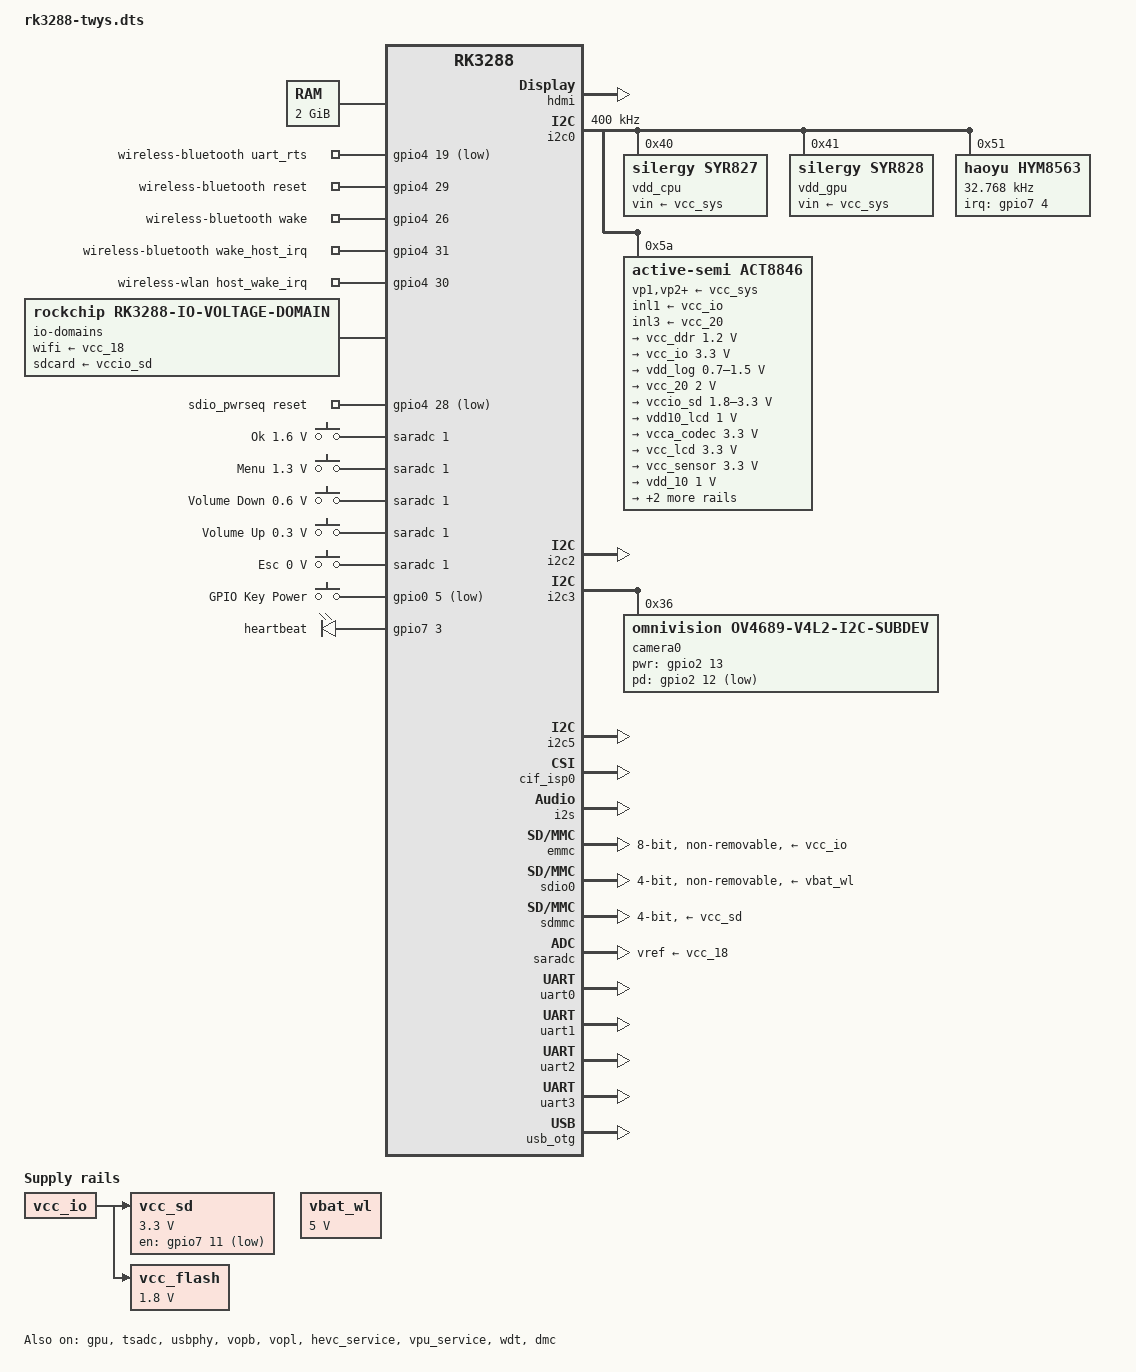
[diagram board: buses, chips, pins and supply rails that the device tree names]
/*
 * This file is dual-licensed: you can use it either under the terms
 * of the GPL or the X11 license, at your option. Note that this dual
 * licensing only applies to this file, and not this project as a
 * whole.
 *
 *  a) This file is free software; you can redistribute it and/or
 *     modify it under the terms of the GNU General Public License as
 *     published by the Free Software Foundation; either version 2 of the
 *     License, or (at your option) any later version.
 *
 *     This file is distributed in the hope that it will be useful,
 *     but WITHOUT ANY WARRANTY; without even the implied warranty of
 *     MERCHANTABILITY or FITNESS FOR A PARTICULAR PURPOSE.  See the
 *     GNU General Public License for more details.
 *
 * Or, alternatively,
 *
 *  b) Permission is hereby granted, free of charge, to any person
 *     obtaining a copy of this software and associated documentation
 *     files (the "Software"), to deal in the Software without
 *     restriction, including without limitation the rights to use,
 *     copy, modify, merge, publish, distribute, sublicense, and/or
 *     sell copies of the Software, and to permit persons to whom the
 *     Software is furnished to do so, subject to the following
 *     conditions:
 *
 *     The above copyright notice and this permission notice shall be
 *     included in all copies or substantial portions of the Software.
 *
 *     THE SOFTWARE IS PROVIDED "AS IS", WITHOUT WARRANTY OF ANY KIND,
 *     EXPRESS OR IMPLIED, INCLUDING BUT NOT LIMITED TO THE WARRANTIES
 *     OF MERCHANTABILITY, FITNESS FOR A PARTICULAR PURPOSE AND
 *     NONINFRINGEMENT. IN NO EVENT SHALL THE AUTHORS OR COPYRIGHT
 *     HOLDERS BE LIABLE FOR ANY CLAIM, DAMAGES OR OTHER LIABILITY,
 *     WHETHER IN AN ACTION OF CONTRACT, TORT OR OTHERWISE, ARISING
 *     FROM, OUT OF OR IN CONNECTION WITH THE SOFTWARE OR THE USE OR
 *     OTHER DEALINGS IN THE SOFTWARE.
 */

/dts-v1/;

#include <dt-bindings/input/input.h>

#include "rk3288.dtsi"

/ {
	compatible = "rockchip,rk3288-twys", "rockchip,rk3288";


	ion {
		compatible = "rockchip,ion";
		#address-cells = <1>;
		#size-cells = <0>;

		cma-heap {
			reg = <0x78000000 0x08000000>;
		};

		system-heap {
		};
	};


	memory {
		device_type = "memory";
		reg = <0x0 0x80000000>;
	};

	wireless-bluetooth {
		compatible = "bluetooth-platdata";
		uart_rts_gpios = <&gpio4 19 GPIO_ACTIVE_LOW>;
		pinctrl-names = "default","rts_gpio";
		pinctrl-0 = <&uart0_rts>;
		pinctrl-1 = <&uart0_gpios>;
		BT,reset_gpio    = <&gpio4 29 GPIO_ACTIVE_HIGH>;
		BT,wake_gpio     = <&gpio4 26 GPIO_ACTIVE_HIGH>;
		BT,wake_host_irq = <&gpio4 31 GPIO_ACTIVE_HIGH>;
		status = "okay";
	};

	wireless-wlan {
		compatible = "wlan-platdata";
		rockchip,grf = <&grf>;
		wifi_chip_type = "ap6335";
		sdio_vref = <1800>;
		WIFI,host_wake_irq = <&gpio4 30 GPIO_ACTIVE_HIGH>;
		status = "okay";
	};

	/* Benn: Confirmed me!! */
	io-domains {
		compatible = "rockchip,rk3288-io-voltage-domain";
		rockchip,grf = <&grf>;
		wifi-supply = <&vcc_18>;
		sdcard-supply = <&vccio_sd>;
	};

	sdio_pwrseq: sdio-pwrseq {
		compatible = "mmc-pwrseq-simple";
		clocks = <&hym8563>;
		clock-names = "ext_clock";
		pinctrl-names = "default";
		pinctrl-0 = <&wifi_enable_h>;

		/*
		 * On the module itself this is one of these (depending
		 * on the actual card populated):
		 * - SDIO_RESET_L_WL_REG_ON
		 * - PDN (power down when low)
		 */
		reset-gpios = <&gpio4 28 GPIO_ACTIVE_LOW>;
	};

	/*
	 * GPIO KEY: On/Off Power Key
	 * ADC Key: Capture(0)/UP(0.297)/DOWN(0.604)/MENU(1.308)/OK(1.628)
	 */
	adc-keys {
		compatible = "adc-keys";
		io-channels = <&saradc 1>;
		io-channel-names = "buttons";
		poll-interval = <100>;
		keyup-threshold-microvolt = <1800000>;

		ok  {
			label = "Ok";
			linux,code = <KEY_OK>;
			press-threshold-microvolt = <1600000>;
		};

		menu {
			label = "Menu";
			linux,code = <KEY_MENU>;
			press-threshold-microvolt = <1300000>;
		};

		button-down {
			label = "Volume Down";
			linux,code = <KEY_VOLUMEDOWN>;
			press-threshold-microvolt = <600000>;
		};

		button-up {
			label = "Volume Up";
			linux,code = <KEY_VOLUMEUP>;
			press-threshold-microvolt = <300000>;
		};

		esc {
			label = "Esc";
			linux,code = <KEY_ESC>;
			press-threshold-microvolt = <0>;
		};
	};

	gpio-keys {
		compatible = "gpio-keys";
		#address-cells = <1>;
		#size-cells = <0>;
		autorepeat;

		pinctrl-names = "default";
		pinctrl-0 = <&pwrbtn>;

		button@0 {
			gpios = <&gpio0 5 GPIO_ACTIVE_LOW>;
			linux,code = <116>;
			label = "GPIO Key Power";
			linux,input-type = <1>;
			gpio-key,wakeup = <1>;
			debounce-interval = <100>;
		};
	};

	gpio-leds {
		compatible = "gpio-leds";

		heartbeat {
			label = "heartbeat";
			linux,default-trigger = "heartbeat";
			default-state = "on";
			gpios = <&gpio7 3 GPIO_ACTIVE_HIGH>;
		};
	};

	sound {
		compatible = "simple-audio-card";
		simple-audio-card,format = "i2s";
		simple-audio-card,name = "rockchip,twys-codec";
		simple-audio-card,mclk-fs = <512>;

		simple-audio-card,dai-link@0 {
			format = "i2s";
			cpu {
				sound-dai = <&i2s>;
			};
			codec {
				sound-dai = <&hdmi>;
			};

		};

		simple-audio-card,dai-link@1 {
			format = "i2s";
			cpu {
				sound-dai = <&i2s>;
			};
		};
	};

	vbat_wl: vcc_sys: vsys-regulator {
		compatible = "regulator-fixed";
		regulator-name = "vcc_sys";
		regulator-min-microvolt = <5000000>;
		regulator-max-microvolt = <5000000>;
		regulator-always-on;
		regulator-boot-on;
	};

	vcc_sd: sdmmc-regulator {
		compatible = "regulator-fixed";
		gpio = <&gpio7 11 GPIO_ACTIVE_LOW>;
		pinctrl-names = "default";
		pinctrl-0 = <&sdmmc_pwr>;
		regulator-name = "vcc_sd";
		regulator-min-microvolt = <3300000>;
		regulator-max-microvolt = <3300000>;
		startup-delay-us = <100000>;
		vin-supply = <&vcc_io>;
	};

	vcc_flash: flash-regulator {
		compatible = "regulator-fixed";
		regulator-name = "vcc_flash";
		regulator-min-microvolt = <1800000>;
		regulator-max-microvolt = <1800000>;
		vin-supply = <&vcc_io>;
		flash0-supply = <&vcc_flash>;
		sdcard-supply = <&vccio_sd>;
		wifi-supply = <&vccio_wl>;
	};

};

&cpu0 {
	cpu0-supply = <&vdd_cpu>;
};

&gpu {
	mali-supply = <&vdd_gpu>;
	status = "okay";
};

&hdmi {
	#address-cells = <1>;
	#size-cells = <0>;
	#sound-dai-cells = <0>;
	pinctrl-names = "default";
	pinctrl-0 = <&hdmi_ddc>;
	status = "okay";
	/* Don't use vopl for HDMI */
	ports {
		hdmi_in: port {
			/delete-node/ endpoint@1;
		};
	};
};

&i2c0 {
	status = "okay";
	clock-frequency = <400000>;

	vdd_cpu: syr827@40 {
		compatible = "silergy,syr827";
		fcs,suspend-voltage-selector = <1>;
		reg = <0x40>;
		regulator-name = "vdd_cpu";
		regulator-min-microvolt = <850000>;
		regulator-max-microvolt = <1350000>;
		regulator-always-on;
		regulator-boot-on;
		regulator-enable-ramp-delay = <300>;
		regulator-ramp-delay = <8000>;
		vin-supply = <&vcc_sys>;
	};

	vdd_gpu: syr828@41 {
		compatible = "silergy,syr828";
		fcs,suspend-voltage-selector = <1>;
		reg = <0x41>;
		regulator-name = "vdd_gpu";
		regulator-min-microvolt = <850000>;
		regulator-max-microvolt = <1350000>;
		regulator-always-on;
		regulator-ramp-delay = <6000>;
		vin-supply = <&vcc_sys>;
	};

	hym8563: hym8563@51 {
		compatible = "haoyu,hym8563";
		reg = <0x51>;
		#clock-cells = <0>;
		clock-frequency = <32768>;
		clock-output-names = "xin32k";
		interrupt-parent = <&gpio7>;
		interrupts = <4 IRQ_TYPE_EDGE_FALLING>;
		pinctrl-names = "default";
		pinctrl-0 = <&rtc_int>;
	};


/*
 *
 * Devices connected to i2c0
 * ---------------------------
 *   SYR827 -> CPU
 *   SYR828 -> GPU
 *   HYM8563 -> RTC
 *   ACT8836 -> PMU
 */

	act8846: act8846@5a {
		compatible = "active-semi,act8846";
		reg = <0x5a>;
		status = "okay";
		system-power-controller;

		vp1-supply = <&vcc_sys>;
		vp2-supply = <&vcc_sys>;
		vp3-supply = <&vcc_sys>;
		vp4-supply = <&vcc_sys>;
		inl1-supply = <&vcc_io>;
		inl2-supply = <&vcc_sys>;
		inl3-supply = <&vcc_20>;

		regulators {
			vcc_ddr: REG1 {
				regulator-name = "VCC_DDR";
				regulator-min-microvolt = <1200000>;
				regulator-max-microvolt = <1200000>;
				regulator-always-on;
			};

			vcc_io: REG2 {
				regulator-name = "VCC_IO";
				regulator-min-microvolt = <3300000>;
				regulator-max-microvolt = <3300000>;
				regulator-always-on;
			};

			vdd_log: REG3 {
				regulator-name = "VDD_LOG";
				regulator-min-microvolt = <700000>;
				regulator-max-microvolt = <1500000>;
				regulator-always-on;
			};

			vcc_20: REG4 {
				regulator-name = "VCC_20";
				regulator-min-microvolt = <2000000>;
				regulator-max-microvolt = <2000000>;
				regulator-always-on;
			};

			vccio_sd: REG5 {
				regulator-name = "VCCIO_SD";
				regulator-min-microvolt = <1800000>;
				regulator-max-microvolt = <3300000>;
				regulator-always-on;
			};

			vdd10_lcd: REG6 {
				regulator-name = "VDD10_LCD";
				regulator-min-microvolt = <1000000>;
				regulator-max-microvolt = <1000000>;
				regulator-always-on;
			};

			vcca_codec: REG7 {
				regulator-name = "VCCA_CODEC";
				regulator-min-microvolt = <3300000>;
				regulator-max-microvolt = <3300000>;
				regulator-always-on;
			};

			vcc_lcd: REG8 {
				regulator-name = "VCC_LCD";
				regulator-min-microvolt = <3300000>;
				regulator-max-microvolt = <3300000>;
				regulator-always-on;
			};

			vcc_sensor: REG9 {
				regulator-name = "vcc_sensor";
				regulator-min-microvolt = <3300000>;
				regulator-max-microvolt = <3300000>;
			};

			vdd_10: REG10 {
				regulator-name = "VDD_10";
				regulator-min-microvolt = <1000000>;
				regulator-max-microvolt = <1000000>;
				regulator-always-on;
			};

			vccio_wl: vcc_18: REG11 {
				regulator-name = "VCC_18";
				regulator-min-microvolt = <1800000>;
				regulator-max-microvolt = <1800000>;
				regulator-always-on;
			};

			vcc18_lcd: REG12 {
				regulator-name = "VCC18_LCD";
				regulator-min-microvolt = <1800000>;
				regulator-max-microvolt = <1800000>;
				regulator-always-on;
			};
		};
	};

};


/*
 * i2c2: audio codec
 * i2c3: mipi camera(ov4689)
 *
 */
&i2c2 {
	status = "okay";
};


&i2c3 {
	status = "okay";

        camera0:camera-module@0 {
                status = "okay";

                compatible = "omnivision,ov4689-v4l2-i2c-subdev";
                /* SID=low */
                reg = < 0x36 >;
                device_type = "v4l2-i2c-subdev";


		clocks = <&cru SCLK_CIFOUT>;
		clock-names = "clk_cif_out";
		
		/*vcc_sensor-supply = <&vcc_sensor>;*/

		rockchip,camera-module-regulator-names ="vcc_sensor";
		rockchip,camera-module-regulator-voltages = <3300000>;

                pinctrl-names = "rockchip,camera_default", "rockchip,camera_sleep";
                pinctrl-0 = <&cam0_default_pins>;
                pinctrl-1 = <&cam0_sleep_pins>;

                /*
                 *  CIFCK0 -> EXTCLK    -> GPIO2_B3 (11)
                 *  CAMPD  -> PWDN      -> GPIO2_B4 (12)
                 *  CAMSD  -> XSHUTDOWN -> GPIO2_B5 (13)
                 */

                rockchip,pwr-gpio = <&gpio2 13 GPIO_ACTIVE_HIGH>;
		rockchip,pd-gpio = <&gpio2 12 GPIO_ACTIVE_LOW>;

                rockchip,camera-module-mclk-name = "clk_cif_out";
                rockchip,camera-module-dovdd = "1.8v";
                rockchip,camera-module-facing = "back";
                rockchip,camera-module-name = "cmk-cb0695-fv1";
                rockchip,camera-module-len-name = "lg9569a2";
                rockchip,camera-module-fov-h = "66.0";
                rockchip,camera-module-fov-v = "50.1";
                rockchip,camera-module-orientation = <0>;
                rockchip,camera-module-iq-flip = <0>;
                rockchip,camera-module-iq-mirror = <0>;
                rockchip,camera-module-flip = <0>;
                rockchip,camera-module-mirror = <0>;

                /* resolution.w, resolution.h, defrect.left, defrect.top, defrect.w, defrect.h */
                rockchip,camera-module-defrect0 = <3264 2448 0 0 3264 2448>;
                rockchip,camera-module-flash-support = <0>;

		/*
		 * dphy0 -> tx
		 * dphy1 -> tx/rx (we use dphy-1)
		 * dphy2 -> rx
		 */
                rockchip,camera-module-mipi-dphy-index = <1>;
        };
};

&i2c5 {
	status = "okay";
};

&cif_isp0 {
          rockchip,camera-modules-attached = <&camera0>;
          status = "okay";
};

&i2s {
	#sound-dai-cells = <0>;
	status = "okay";
};

&emmc {
	bus-width = <8>;
	cap-mmc-highspeed;
	disable-wp;
	non-removable;
	num-slots = <1>;
	pinctrl-names = "default";
	pinctrl-0 = <&emmc_clk>, <&emmc_cmd>, <&emmc_pwr>, <&emmc_bus8>;
	vmmc-supply = <&vcc_io>; /* ACT8846: 3.3v */
	vqmmc-supply = <&vcc_flash>; /* Fixed: 1.8v */
	status = "okay";
};


&sdio0 {
	clock-frequency = <50000000>;
	clock-freq-min-max = <200000 50000000>;

	bus-width = <4>;
	cap-sd-highspeed;
	cap-sdio-irq;
	disable-wp;
	keep-power-in-suspend;
	mmc-pwrseq = <&sdio_pwrseq>;
	non-removable;
	num-slots = <1>;
	pinctrl-names = "default";
	pinctrl-0 = <&sdio0_bus4 &sdio0_cmd &sdio0_clk &sdio0_int>;
	sd-uhs-sdr104;
	supports-sdio;
	vmmc-supply = <&vbat_wl>;
	vqmmc-supply = <&vccio_wl>;
	status = "okay";
};

&sdmmc {
	bus-width = <4>;
	cap-mmc-highspeed;
	cap-sd-highspeed;
	card-detect-delay = <200>;
	disable-wp;
	num-slots = <1>;
	pinctrl-names = "default";
	pinctrl-0 = <&sdmmc_clk>, <&sdmmc_cmd>, <&sdmmc_cd>, <&sdmmc_bus4>;
	supports-sd;
	vmmc-supply = <&vcc_sd>;
	vqmmc-supply = <&vccio_sd>;
	status = "okay";
};


&sdmmc {
	bus-width = <4>;
	cap-mmc-highspeed;
	cap-sd-highspeed;
	sd-uhs-sdr12;
	sd-uhs-sdr25;
	sd-uhs-sdr50;
	sd-uhs-sdr104;
	card-detect-delay = <200>;
	disable-wp;			/* wp not hooked up */
	num-slots = <1>;
	pinctrl-names = "default";
	pinctrl-0 = <&sdmmc_clk &sdmmc_cmd &sdmmc_cd &sdmmc_bus4>;
	status = "okay";
	supports-sd;
	vmmc-supply = <&vcc_sd>;
	vqmmc-supply = <&vccio_sd>;
};

&saradc {
        vref-supply = <&vcc_18>;
	status = "okay";
};

/*
 * TSADC (Temperature Sensor ADC)
 *
 */
&tsadc {
	rockchip,hw-tshut-mode = <1>; /* tshut mode 0:CRU 1:GPIO */
	rockchip,hw-tshut-polarity = <1>; /* tshut polarity 0:LOW 1:HIGH */
	status = "okay";
};

/* BT */
&uart0 {
	pinctrl-names = "default";
	pinctrl-0 = <&uart0_xfer>, <&uart0_cts>;
	status = "okay";
};

/* GPS */
&uart1 {
	status = "okay";
};

/* Debug Port */
&uart2 {
	status = "okay";
};

/* USB Port  */
&uart3 {
	status = "okay";
};

/* Not used */
&uart4 {
	status = "disabled";
};

&usbphy {
	status = "okay";
};

&usb_otg {
	status= "okay";
};

&vopb {
	status = "okay";
};

&vopb_mmu {
	status = "okay";
};

&vopl {
	status = "okay";
	/* Don't use vopl for HDMI */
	vopl_out: port {
		/delete-node/ endpoint@0;
	};
};

&vopl_mmu {
	status = "okay";
};

&hevc_service {
	status = "okay";
};

&vpu_service {
	status = "okay";
};

&wdt {
	status = "okay";
};

&pinctrl {
	pcfg_pull_none_drv_8ma: pcfg-pull-none-drv-8ma {
		drive-strength = <8>;
	};

	pcfg_pull_up_drv_8ma: pcfg-pull-up-drv-8ma {
		bias-pull-up;
		drive-strength = <8>;
	};

	buttons {
		pwrbtn: pwrbtn {
			rockchip,pins = <0 5 RK_FUNC_GPIO &pcfg_pull_up>;
		};
	};

	pmic {
		pmic_int: pmic-int {
			rockchip,pins = <RK_GPIO0 4 RK_FUNC_GPIO &pcfg_pull_up>;
		};

		dvs_1: dvs-1 {
			rockchip,pins = <RK_GPIO0 11 RK_FUNC_GPIO &pcfg_pull_down>;
		};

		dvs_2: dvs-2 {
			rockchip,pins = <RK_GPIO0 12 RK_FUNC_GPIO &pcfg_pull_down>;
		};
	};

	sdio-pwrseq {
		wifi_enable_h: wifi-enable-h {
			rockchip,pins = <4 28 RK_FUNC_GPIO &pcfg_pull_none>;
		};
	};

	hym8563 {
		rtc_int: rtc-int {
			rockchip,pins = <0 4 RK_FUNC_GPIO &pcfg_pull_up>;
		};
	};

	sdmmc {
		/*
		 * Default drive strength isn't enough to achieve even
		 * high-speed mode on EVB board so bump up to 8ma.
		 */
		sdmmc_bus4: sdmmc-bus4 {
			rockchip,pins = <6 16 RK_FUNC_1 &pcfg_pull_up_drv_8ma>,
					<6 17 RK_FUNC_1 &pcfg_pull_up_drv_8ma>,
					<6 18 RK_FUNC_1 &pcfg_pull_up_drv_8ma>,
					<6 19 RK_FUNC_1 &pcfg_pull_up_drv_8ma>;
		};

		sdmmc_clk: sdmmc-clk {
			rockchip,pins = <6 20 RK_FUNC_1 &pcfg_pull_none_drv_8ma>;
		};

		sdmmc_cmd: sdmmc-cmd {
			rockchip,pins = <6 21 RK_FUNC_1 &pcfg_pull_up_drv_8ma>;
		};

		sdmmc_pwr: sdmmc-pwr {
			rockchip,pins = <7 11 RK_FUNC_GPIO &pcfg_pull_none>;
		};
	};

	wireless-bluetooth {
		uart0_gpios: uart0-gpios {
			rockchip,pins = <4 19 RK_FUNC_GPIO &pcfg_pull_none>;
		};
	};

	/* TWYS: Hardware option. Disabled currently, just skip it */
	wifi {
		wifi_pwr: wifi-pwr {
			rockchip,pins = <7 9 RK_FUNC_GPIO &pcfg_pull_none>;
		};
	};

	/*
	 * ref to drivers/media/i2c/soc_camera/rockchip/rk_camera_module.c
	 * PLTFRM_CAMERA_MODULE_PIN_PD     Y
	 * PLTFRM_CAMERA_MODULE_PIN_PWR    Y
	 * PLTFRM_CAMERA_MODULE_PIN_FLASH  N
	 * PLTFRM_CAMERA_MODULE_PIN_TORCH  N
	 * PLTFRM_CAMERA_MODULE_PIN_RESET  N
	 * 
	 */
	cam_pins {
		cam0_default_pins: cam0_default_pins {
			rockchip,pins = <2 12 RK_FUNC_GPIO &pcfg_pull_none>,
				        <2 13 RK_FUNC_GPIO &pcfg_pull_none>,
					<2 11 RK_FUNC_1 &pcfg_pull_none>; /* clkout */
		};
		cam0_sleep_pins: cam0_sleep_pins {
			rockchip,pins = <2 12 RK_FUNC_GPIO &pcfg_pull_none>,
				        <2 13 RK_FUNC_GPIO &pcfg_pull_none>,
					<2 11 RK_FUNC_GPIO &pcfg_pull_none>; /* clkout */
		};
	};
};

&dmc {
	status = "okay";
	logic-supply = <&vdd_log>;
	rockchip,odt-disable-freq = <666000000>;
	rockchip,dll-disable-freq = <333000000>;
	rockchip,sr-enable-freq = <333000000>;
	rockchip,auto-self-refresh-cnt = <0>;
	rockchip,auto-power-down-cnt = <64>;
	rockchip,ddr-speed-bin = <21>;
	rockchip,trcd = <10>;
	rockchip,trp = <10>;
	rockchip,pd-enable-freq = <333000000>;
	operating-points = <
		/* KHz    uV */
		200000 1000000
		333000 1000000
		533000 1000000
	>;

	#cooling-cells = <2>; /* min followed by max */
};
